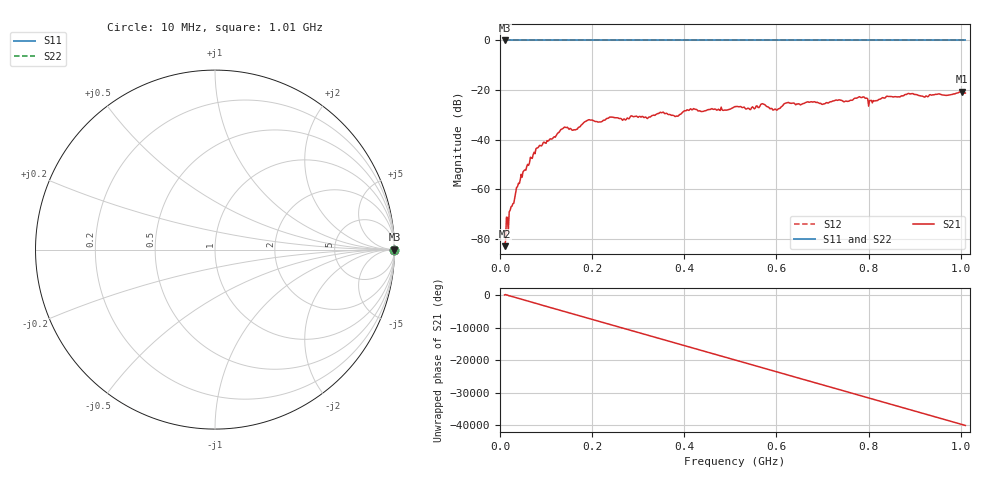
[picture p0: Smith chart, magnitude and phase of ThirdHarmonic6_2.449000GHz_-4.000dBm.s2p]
! 8/17/2025 4:21:38 AM
! C:\ANRITSUVNA\TEMP\TEMP.S2P
! CHANNEL.1
! TR.MEASUREMENT
! RAW.DATA
! RF.CORRECTION.OFF
! AVERAGING.OFF
! IF.BANDWIDTH: 5KHZ
! SWEEPTYPE:  FREQ.SWEEP(Linear)
! Reference Plane Port Info
! PORT:  PORT1  PORT2
! DISTANCE:  0  m  0  m
! TIME:  0  s  0  s
! PHASE.OFFSET:  0  deg.  0  deg.
! LOSS:  0  dB  0  dB
! REF.LOSS:  0  dB  0  dB
! REF.FREQ:  0  Hz  0  Hz
! Power Info
! POWER:  -20  dBm  -20  dBm
! EFF.POWER:  -20  dBm  -20  dBm
! SOURCE.ATTEN:  0  dB  0  dB
! TEST.ATTEN:  0  dB  0  dB
# GHZ S RI R 50.0
! FREQ.GHZ  S11RE  S11IM  S21RE  S21IM  S12RE  S12IM  S22RE  S22IM
!; PortSelection: Port_12
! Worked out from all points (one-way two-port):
!   501 points, 10 MHz to 1.01 GHz, reference 50 ohm
!   highest |S21| = -20.63 dB at 1.002 GHz (marker M1); lowest = -83.0 dB at 10 MHz (marker M2)
!   lowest |S11| = 0.0 dB at 10 MHz (marker M3)
!   |S11| at or under -10 dB: nowhere
!   |S22| runs from 0.0 to 0.0 dB; largest |S21 - S12| = 1.1
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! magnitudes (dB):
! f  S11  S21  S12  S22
! 10 MHz  0.0  -83.0  0.0  0.0
! 18 MHz  0.0  -77.1  0.0  0.0
! 42 MHz  0.0  -57.7  0.0  0.0
! 82 MHz  0.0  -43.3  0.0  0.0
! 136 MHz  0.0  -35.6  0.0  0.0
! 162 MHz  0.0  -36.0  0.0  0.0
! 178 MHz  0.0  -33.9  0.0  0.0
! 194 MHz  0.0  -32.0  0.0  0.0
! 344 MHz  0.0  -29.5  0.0  0.0
! 384 MHz  0.0  -30.5  0.0  0.0
! 416 MHz  0.0  -27.9  0.0  0.0
! 510 MHz  0.0  -26.7  0.0  0.0
! 540 MHz  0.0  -27.4  0.0  0.0
! 570 MHz  0.0  -25.5  0.0  0.0
! 598 MHz  0.0  -27.7  0.0  0.0
! 622 MHz  0.0  -25.2  0.0  0.0
! 678 MHz  0.0  -24.8  0.0  0.0
! 784 MHz  0.0  -23.1  0.0  0.0
! 804 MHz  0.0  -24.2  0.0  0.0
! 844 MHz  0.0  -22.6  0.0  0.0
! 1.002 GHz  0.0  -20.6  0.0  0.0
! 1.01 GHz  0.0  -21.2  0.0  0.0
